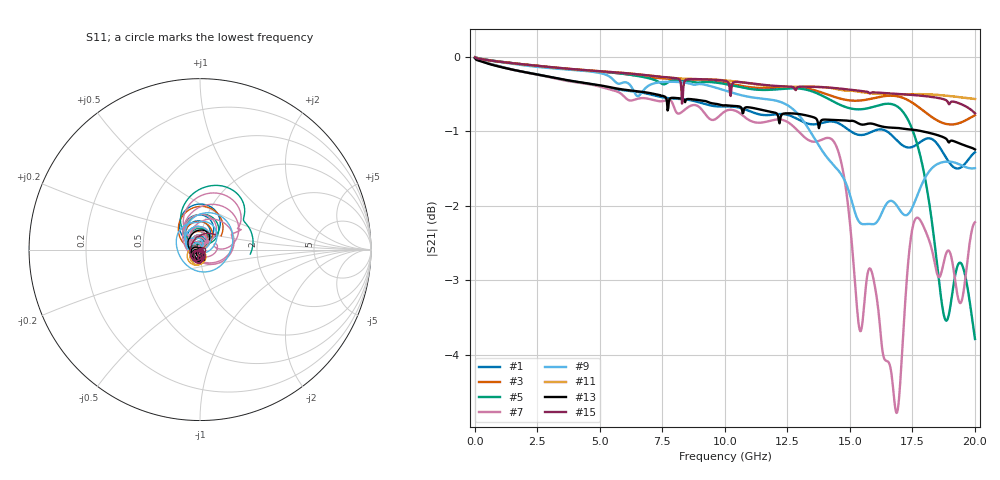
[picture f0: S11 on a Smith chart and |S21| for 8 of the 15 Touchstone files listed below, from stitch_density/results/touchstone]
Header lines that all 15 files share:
! Stitch-density study - 40 x 12 mm symmetric stripline, cut at x=20 mm
! Sweep: 10 MHz - 20 GHz, 25 MHz step, 4 cores
# GHz S MA R 50.000000
! Terminal data exported
! Port[1] = U1.PAD1.SIG
! Port[2] = U2.PAD1.SIG
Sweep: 10 MHz to 20 GHz
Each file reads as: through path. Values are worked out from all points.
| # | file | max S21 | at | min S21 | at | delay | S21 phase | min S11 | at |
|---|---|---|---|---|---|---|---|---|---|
| 1 | hf_p1p0_mono.s2p | -0.01 dB | 10 MHz | -1.5 dB | 19.31 GHz | 259 ps | 146 deg at 10.01 GHz | -57.6 dB | 10 MHz |
| 2 | hf_p1p0_segA.s2p | -0.01 dB | 10 MHz | -0.9 dB | 18.84 GHz | 133 ps | -118 deg at 10.01 GHz | -63.5 dB | 10 MHz |
| 3 | hf_p1p0_segB.s2p | -0.01 dB | 10 MHz | -0.9 dB | 19.04 GHz | 133 ps | -116 deg at 10.01 GHz | -72.7 dB | 5.16 GHz |
| 4 | hf_p2p0_mono.s2p | -0.01 dB | 10 MHz | -5.5 dB | 18.98 GHz | 260 ps | 146 deg at 10.01 GHz | -58.7 dB | 2.585 GHz |
| 5 | hf_p2p0_segA.s2p | -0.01 dB | 10 MHz | -3.8 dB | 20 GHz | 133 ps | -117 deg at 10.01 GHz | -63.4 dB | 10 MHz |
| 6 | hf_p2p0_segB.s2p | -0.01 dB | 10 MHz | -4.0 dB | 20 GHz | 133 ps | -117 deg at 10.01 GHz | -63.3 dB | 10 MHz |
| 7 | hf_p4p0_mono.s2p | -0.01 dB | 10 MHz | -4.8 dB | 16.86 GHz | 258 ps | 145 deg at 10.01 GHz | -57.7 dB | 10 MHz |
| 8 | hf_p4p0_segA.s2p | -0.01 dB | 10 MHz | -2.3 dB | 15.51 GHz | 132 ps | -118 deg at 10.01 GHz | -63.6 dB | 10 MHz |
| 9 | hf_p4p0_segB.s2p | -0.01 dB | 10 MHz | -2.2 dB | 15.91 GHz | 132 ps | -119 deg at 10.01 GHz | -63.5 dB | 10 MHz |
| 10 | p1p0_mono.s2p | -0.02 dB | 10 MHz | -1.1 dB | 20 GHz | 255 ps | 160 deg at 10.01 GHz | -53.9 dB | 10 MHz |
| 11 | p1p0_segA.s2p | -0.01 dB | 10 MHz | -0.6 dB | 20 GHz | 129 ps | -104 deg at 10.01 GHz | -68.5 dB | 14.01 GHz |
| 12 | p1p0_segB.s2p | -0.01 dB | 10 MHz | -0.6 dB | 20 GHz | 129 ps | -104 deg at 10.01 GHz | -60.2 dB | 10 MHz |
| 13 | p2p0_mono.s2p | -0.02 dB | 10 MHz | -1.2 dB | 20 GHz | 256 ps | 160 deg at 10.01 GHz | -53.9 dB | 10 MHz |
| 14 | p2p0_segA.s2p | -0.01 dB | 10 MHz | -0.8 dB | 20 GHz | 130 ps | -104 deg at 10.01 GHz | -69.2 dB | 9.91 GHz |
| 15 | p2p0_segB.s2p | -0.01 dB | 10 MHz | -0.8 dB | 20 GHz | 130 ps | -104 deg at 10.01 GHz | -60.1 dB | 10 MHz |
